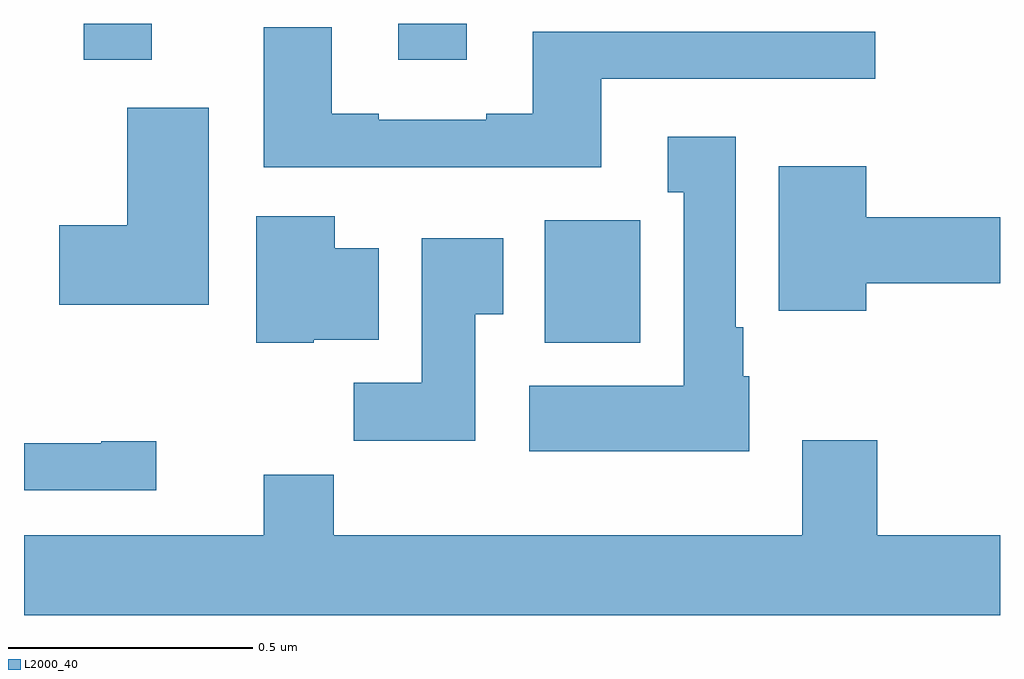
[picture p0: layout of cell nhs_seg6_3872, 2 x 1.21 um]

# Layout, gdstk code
import gdstk
lib = gdstk.Library(unit=1e-6, precision=1e-09)
def R(c, l, rs):  # rectangles x0, y0, x1, y1
    for r in rs: c.add(gdstk.rectangle(r[:2], r[2:], *l))
def P(c, l, *ps):  # polygons
    for p in ps: c.add(gdstk.Polygon(p, *l))
L2000_40 = (2000, 40)

nhs_seg6_3872 = lib.new_cell('nhs_seg6_3872')
R(nhs_seg6_3872, L2000_40, [(163.067,995.846,163.263,996.097), (162.122,996.426,162.262,996.5), (162.767,996.426,162.907,996.5)])
P(nhs_seg6_3872, L2000_40, [(163.183,996.387),(163.744,996.387),(163.744,996.484),(163.043,996.484),(163.043,996.316),(162.947,996.316),(162.947,996.303),(162.727,996.303),(162.727,996.316),(162.631,996.316),(162.631,996.493),(162.491,996.493),(162.491,996.206),(163.183,996.206)],
  [(162.379,996.328),(162.212,996.328),(162.212,996.087),(162.072,996.087),(162.072,995.924),(162.379,995.924)],
  [(163.486,995.778),(163.474,995.778),(163.474,995.878),(163.459,995.878),(163.459,996.268),(163.319,996.268),(163.319,996.155),(163.352,996.155),(163.352,995.758),(163.035,995.758),(163.035,995.624),(163.486,995.624)],
  [(163.726,995.968),(164,995.968),(164,996.104),(163.726,996.104),(163.726,996.208),(163.547,996.208),(163.547,995.912),(163.726,995.912)],
  [(162.594,995.852),(162.727,995.852),(162.727,996.04),(162.637,996.04),(162.637,996.106),(162.476,996.106),(162.476,995.846),(162.594,995.846)],
  [(162.925,995.905),(162.982,995.905),(162.982,996.061),(162.815,996.061),(162.815,995.764),(162.676,995.764),(162.676,995.646),(162.925,995.646)],
  [(164,995.452),(163.748,995.452),(163.748,995.647),(163.595,995.647),(163.595,995.452),(162.635,995.452),(162.635,995.576),(162.491,995.576),(162.491,995.452),(162,995.452),(162,995.288),(164,995.288)],
  [(162.271,995.645),(162.158,995.645),(162.158,995.64),(162,995.64),(162,995.544),(162.271,995.544)])

lib.write_gds('nhs_seg6_3872.gds')
